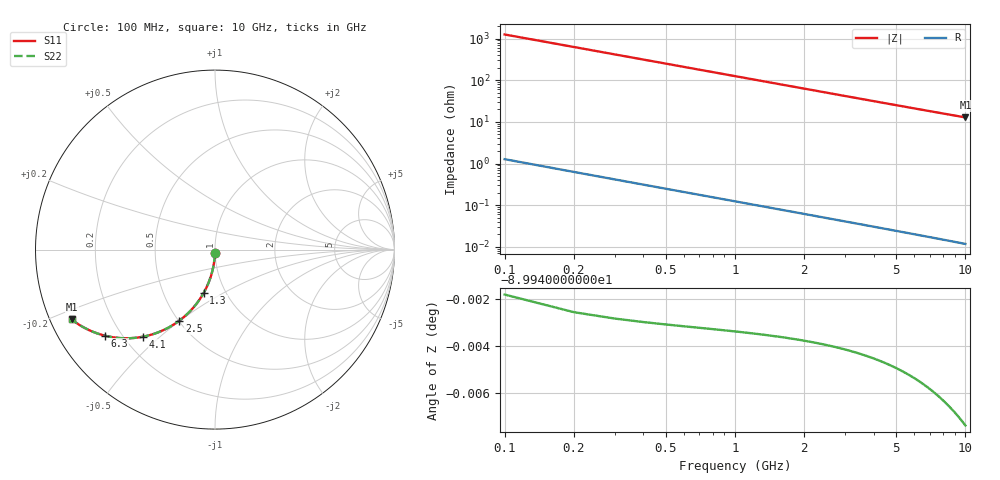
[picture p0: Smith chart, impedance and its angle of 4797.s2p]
# Hz S RI R 50.00
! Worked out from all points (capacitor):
!   100 points, 100 MHz to 10 GHz, reference 50 ohm
!   read as one part in shunt: C = 1.27 pF near 100 MHz
!   lowest |Z| = 12.8 ohm at 10 GHz (marker M1)
!   S11 on the Smith chart (normalised r, x): 100 MHz: 1.00, -0.04; 1.3 GHz: 0.79, -0.41; 2.5 GHz: 0.50, -0.50; 4.1 GHz: 0.27, -0.44; 6.3 GHz: 0.14, -0.34; 10 GHz: 0.06, -0.23
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1e8  -0.000381 -0.0198  0.9995 -0.0201  0.9995 -0.0201  -0.000381 -0.0198
2e8  -0.00159 -0.0396  0.9983 -0.0401  0.9983 -0.0401  -0.00159 -0.0396
3e8  -0.00359 -0.0593  0.9963 -0.06  0.9963 -0.06  -0.00359 -0.0593
4e8  -0.00637 -0.0789  0.9935 -0.0798  0.9935 -0.0798  -0.00637 -0.0789
5e8  -0.00992 -0.0983  0.99 -0.0993  0.99 -0.0993  -0.00992 -0.0983
6e8  -0.0142 -0.1174  0.9857 -0.1187  0.9857 -0.1187  -0.0142 -0.1174
8e8  -0.025 -0.1548  0.975 -0.1565  0.975 -0.1565  -0.025 -0.1548
1e9  -0.0384 -0.1908  0.9615 -0.1929  0.9615 -0.1929  -0.0384 -0.1908
1.3e9  -0.0632 -0.2415  0.9367 -0.2444  0.9367 -0.2444  -0.0632 -0.2415
1.5e9  -0.0824 -0.2729  0.9175 -0.2762  0.9175 -0.2762  -0.0824 -0.2729
1.8e9  -0.1145 -0.316  0.8855 -0.3199  0.8855 -0.3199  -0.1145 -0.316
2.1e9  -0.1495 -0.3539  0.8504 -0.3585  0.8504 -0.3585  -0.1495 -0.3539
2.5e9  -0.1994 -0.3964  0.8005 -0.4018  0.8005 -0.4018  -0.1994 -0.3964
2.9e9  -0.2509 -0.4299  0.749 -0.4362  0.749 -0.4362  -0.2509 -0.4299
3.4e9  -0.3152 -0.4604  0.6847 -0.4678  0.6847 -0.4678  -0.3152 -0.4604
4.1e9  -0.4008 -0.4851  0.5991 -0.4941  0.5991 -0.4941  -0.4008 -0.4851
5.1e9  -0.5085 -0.4938  0.4914 -0.505  0.4914 -0.505  -0.5085 -0.4938
6.3e9  -0.6121 -0.4798  0.3877 -0.4937  0.3877 -0.4937  -0.6121 -0.4798
6.7e9  -0.6409 -0.4718  0.3589 -0.4866  0.3589 -0.4866  -0.6409 -0.4718
7.5e9  -0.6911 -0.4532  0.3087 -0.4698  0.3087 -0.4698  -0.6911 -0.4532
8.4e9  -0.7374 -0.4301  0.2624 -0.4488  0.2624 -0.4488  -0.7374 -0.4301
1e10  -0.7994 -0.3886  0.2003 -0.411  0.2003 -0.411  -0.7994 -0.3886
